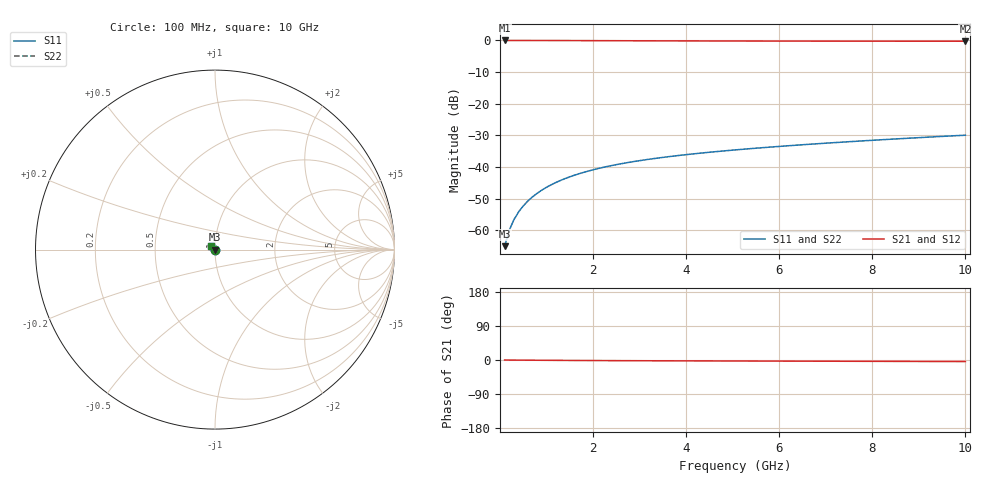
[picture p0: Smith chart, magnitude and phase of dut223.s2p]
! Touchstone file exported from HFSS 2024.1.0
!  File:  C:/UserFiles/LocalFiles/RDL_TSV_Batchsim/temp_TSV1_223_1779387966.aedt
!  Generated:  02:33:55 AM May 22, 2026
!  Design:  TSV1
!  Project:  temp_TSV1_223_1779387966
!  Setup:  Setup1
!  Solution:  Sweep
! Variables:
!  dtsv = 6.29um
!  hbump = 3um
!  htsv = 56.55um
!  lrdl = 252.1521522um
!  p = 40
!  p1 = 54.65um
!  t = 500um
!  trdl = 3um
!  wrdl = 24.89489489um
# GHz S MA R 50.000000
! Terminal data exported
! Port[1] = TSV22_T1
! Port[2] = TSV22_T2
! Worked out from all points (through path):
!   100 points, 100 MHz to 10 GHz, reference 50 ohm
!   highest |S21| = 0.00 dB at 100 MHz (marker M1); lowest = -0.2 dB at 10 GHz (marker M2)
!   lowest |S11| = -65.0 dB at 100 MHz (marker M3), VSWR 1.00, Z = 50 - j0.0495 ohm
!   |S11| at or under -10 dB: start of sweep to end of sweep
!   |S22| runs from -65.0 to -29.9 dB; largest |S21 - S12| = 4.3e-15
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0.1  0.0005639 -61.4  0.9997 -0.1  0.9997 -0.1  0.0005639 -61.4
! Gamma 0 0 0 0
! Port Impedance 50 0 50 0
0.2  0.001008 -78.5  0.9996 -0.2  0.9996 -0.2  0.001008 -78.5
0.3  0.001478 -86.6  0.9995 -0.2  0.9995 -0.2  0.001478 -86.6
0.4  0.001955 -92.0  0.9993 -0.3  0.9993 -0.3  0.001955 -92.0
0.5  0.002435 -96.2  0.9991 -0.4  0.9991 -0.4  0.002435 -96.2
0.6  0.002914 -99.9  0.9989 -0.5  0.9989 -0.5  0.002914 -99.9
0.7  0.003391 -103.1  0.9986 -0.6  0.9986 -0.6  0.003391 -103.1
0.8  0.003864 -106.2  0.9983 -0.6  0.9983 -0.6  0.003864 -106.2
0.9  0.004333 -109.0  0.9979 -0.7  0.9979 -0.7  0.004333 -109.0
1.1  0.005254 -114.4  0.9971 -0.9  0.9971 -0.9  0.005254 -114.4
1.4  0.006588 -121.9  0.9958 -1.1  0.9958 -1.1  0.006588 -121.9
1.6  0.007441 -126.6  0.9948 -1.2  0.9948 -1.2  0.007441 -126.6
1.8  0.008266 -131.1  0.9938 -1.3  0.9938 -1.3  0.008266 -131.1
2.1  0.009448 -137.6  0.9923 -1.5  0.9923 -1.5  0.009448 -137.6
2.5  0.01093 -145.6  0.9902 -1.7  0.9902 -1.7  0.01093 -145.6
2.9  0.01231 -153.0  0.9881 -1.9  0.9881 -1.9  0.01231 -153.0
3.4  0.01392 -161.4  0.9858 -2.1  0.9858 -2.1  0.01392 -161.4
4.2  0.0163 -173.1  0.9826 -2.4  0.9826 -2.4  0.0163 -173.1
5.1  0.0188 175.8  0.9797 -2.6  0.9797 -2.6  0.0188 175.8
6.7  0.02305 160.5  0.9761 -3.1  0.9761 -3.1  0.02306 160.5
8.4  0.02756 148.5  0.9735 -3.6  0.9735 -3.6  0.02756 148.5
10  0.03189 139.8  0.9718 -4.1  0.9718 -4.1  0.03189 139.8
